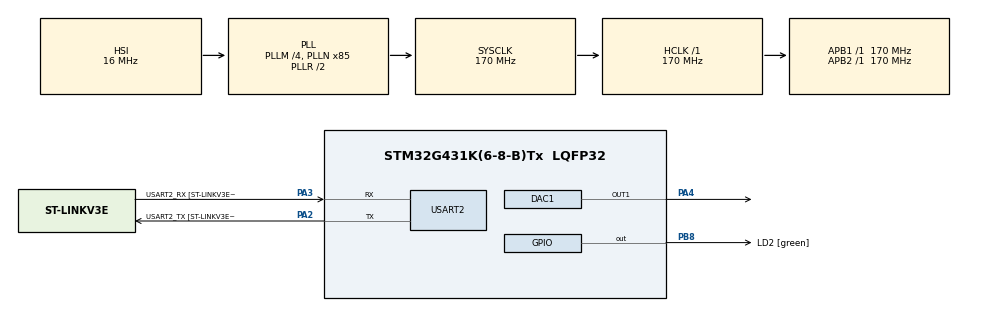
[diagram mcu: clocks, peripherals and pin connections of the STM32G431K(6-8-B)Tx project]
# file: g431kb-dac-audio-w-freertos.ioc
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DAC1.DAC_Trigger_OUT1-DAC_OUT1=DAC_TRIGGER_T6_TRGO
Dma.DAC1_CH1.0.Direction=DMA_MEMORY_TO_PERIPH
Dma.DAC1_CH1.0.EventEnable=DISABLE
Dma.DAC1_CH1.0.Instance=DMA1_Channel1
Dma.DAC1_CH1.0.MemDataAlignment=DMA_MDATAALIGN_BYTE
Dma.DAC1_CH1.0.MemInc=DMA_MINC_ENABLE
Dma.DAC1_CH1.0.Mode=DMA_NORMAL
Dma.DAC1_CH1.0.PeriphDataAlignment=DMA_PDATAALIGN_WORD
Dma.DAC1_CH1.0.PeriphInc=DMA_PINC_DISABLE
Dma.DAC1_CH1.0.Polarity=HAL_DMAMUX_REQ_GEN_RISING
Dma.DAC1_CH1.0.Priority=DMA_PRIORITY_LOW
Dma.DAC1_CH1.0.RequestNumber=1
Dma.DAC1_CH1.0.SignalID=NONE
Dma.DAC1_CH1.0.SyncEnable=DISABLE
Dma.DAC1_CH1.0.SyncPolarity=HAL_DMAMUX_SYNC_NO_EVENT
Dma.DAC1_CH1.0.SyncRequestNumber=1
Dma.DAC1_CH1.0.SyncSignalID=NONE
Dma.Request0=DAC1_CH1
FREERTOS.Tasks01=defaultTask,24,128,StartDefaultTask,Default,NULL,Dynamic,NULL,NULL
FREERTOS.configTOTAL_HEAP_SIZE=12000
FREERTOS.configUSE_NEWLIB_REENTRANT=1
Mcu.Family=STM32G4
Mcu.Name=STM32G431K(6-8-B)Tx
Mcu.Package=LQFP32
NVIC.DMA1_Channel1_IRQn=true\:5\:0\:false\:false\:true\:true\:false\:true\:true
NVIC.PriorityGroup=NVIC_PRIORITYGROUP_4
NVIC.TIM6_DAC_IRQn=true\:6\:0\:true\:false\:true\:true\:true\:true\:true
NVIC.TIM7_IRQn=true\:15\:0\:false\:false\:true\:false\:false\:true\:true
NVIC.TimeBase=TIM7_IRQn
NVIC.TimeBaseIP=TIM7
PA13.GPIO_Label=T_SWDIO
PA13.Mode=Serial_Wire
PA13.Signal=SYS_JTMS-SWDIO
PA14.GPIO_Label=T_SWCLK
PA14.Mode=Serial_Wire
PA14.Signal=SYS_JTCK-SWCLK
PA2.GPIO_Label=USART2_TX [ST-LINKV3E_VCP_RX]
PA2.Mode=Asynchronous
PA2.Signal=USART2_TX
PA3.GPIO_Label=USART2_RX [ST-LINKV3E_VCP_TX]
PA3.Mode=Asynchronous
PA3.Signal=USART2_RX
PA4.Signal=COMP_DAC11_group
PB3.GPIO_Label=T_SWO
PB3.Signal=SYS_JTDO-SWO
PB8-BOOT0.GPIO_Label=LD2 [green]
PB8-BOOT0.Signal=GPIO_Output
ProjectManager.HeapSize=0x200
ProjectManager.StackSize=0x400
ProjectManager.TargetToolchain=STM32CubeIDE
RCC.ADC12Freq_Value=170000000
RCC.AHBFreq_Value=170000000
RCC.APB1Freq_Value=170000000
RCC.APB1TimFreq_Value=170000000
RCC.APB2Freq_Value=170000000
RCC.APB2TimFreq_Value=170000000
RCC.CortexFreq_Value=170000000
RCC.EXTERNAL_CLOCK_VALUE=12288000
RCC.HCLKFreq_Value=170000000
RCC.HSE_VALUE=8000000
RCC.HSI48_VALUE=48000000
RCC.HSI_VALUE=16000000
RCC.LSE_VALUE=32768
RCC.PLLM=RCC_PLLM_DIV4
RCC.PLLN=85
RCC.SYSCLKFreq_VALUE=170000000
RCC.SYSCLKSource=RCC_SYSCLKSOURCE_PLLCLK
RCC.USBFreq_Value=170000000
RCC.VCOOutputFreq_Value=340000000
SH.COMP_DAC11_group.0=DAC1_OUT1,DAC_OUT1
TIM6.PeriodNoDither=504
TIM6.Prescaler=1
TIM6.TIM_MasterOutputTrigger=TIM_TRGO_UPDATE
USART2.VirtualMode-Asynchronous=VM_ASYNC
USART2.WordLength=WORDLENGTH_8B
VP_FREERTOS_VS_CMSIS_V2.Mode=CMSIS_V2
VP_SYS_VS_DBSignals.Mode=DisableDeadBatterySignals
VP_SYS_VS_tim7.Mode=TIM7
VP_TIM6_VS_ClockSourceINT.Mode=Enable_Timer
board=NUCLEO-G431KB

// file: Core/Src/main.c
/* USER CODE BEGIN Header */
/**
  ******************************************************************************
  * @file           : main.c
  * @brief          : Main program body
  ******************************************************************************
  * @attention
  *
  * Copyright (c) 2024 STMicroelectronics.
  * All rights reserved.
  *
  * This software is licensed under terms that can be found in the LICENSE file
  * in the root directory of this software component.
  * If no LICENSE file comes with this software, it is provided AS-IS.
  *
  ******************************************************************************
  */
/* USER CODE END Header */
#include "main.h"
#include "cmsis_os.h"

/* USER CODE BEGIN Includes */
#include <stdint.h>
#include <stdbool.h>
#include <string.h>

#include <FreeRTOS.h>
#include <task.h>
#include <queue.h>
#include <semphr.h>

#include "lofi_sample.h"
#include "open_the_can.h"
#include "keyboard.h"
/* USER CODE END Includes */

/* USER CODE BEGIN PTD */
typedef struct{
	uint8_t *pAudioData;
	uint32_t u32Len;
}audio_play_cmd_t;
/* USER CODE END PTD */

/* USER CODE BEGIN PD */
#define WAV_FILE_HEADER_SIZE		44
/* USER CODE END PD */

DAC_HandleTypeDef hdac1;
DMA_HandleTypeDef hdma_dac1_ch1;

TIM_HandleTypeDef htim6;

UART_HandleTypeDef huart2;

/* Definitions for defaultTask */

/* USER CODE BEGIN PV */
TaskHandle_t xAudioTask;
QueueHandle_t xAudioQueue;
SemaphoreHandle_t xDacSem;
/* USER CODE END PV */

void SystemClock_Config(void);
static void MX_GPIO_Init(void);
static void MX_DMA_Init(void);
static void MX_USART2_UART_Init(void);
static void MX_DAC1_Init(void);
static void MX_TIM6_Init(void);
void StartDefaultTask(void *argument);

/* USER CODE BEGIN 0 */

/** callback from DAC **/

void HAL_DAC_ConvCpltCallbackCh1(DAC_HandleTypeDef *hdac){\
	BaseType_t xWoken = pdFALSE;

	xSemaphoreGiveFromISR(xDacSem, &xWoken);

	portYIELD_FROM_ISR(xWoken);
}

/** Functions to reproduce the audio **/

void _start_dac(uint8_t *buffer, uint32_t len){
	HAL_DAC_Start_DMA(&hdac1, DAC_CHANNEL_1, (uint32_t*)buffer, len, DAC_ALIGN_8B_R);
}

/** Task to Reproduce audio **/

void vTaskAudioPlayer(void *pvParams){
	audio_play_cmd_t Audio;

	HAL_TIM_Base_Start_IT(&htim6);
	while (1){
		xQueueReceive(xAudioQueue, &Audio, portMAX_DELAY);
		_start_dac(Audio.pAudioData, Audio.u32Len);
		xSemaphoreTake(xDacSem, portMAX_DELAY);
		vPortFree(Audio.pAudioData);
	}
}

/* Auxiliary Functions */

void _apply_volume(uint8_t *buffer, uint32_t len, uint8_t level){
	uint32_t i;
	uint32_t a;
	int32_t v;

	for (i=0 ; i<len ; i++){
		v = buffer[i] - 127;
		a = (v * level) / 100;
		buffer[i] = (uint8_t)(a + 127);
	}
}

void _play_audio(uint8_t *pAudio, uint32_t len){
	uint32_t played, sizeToPlay, iterations;
	uint8_t *pBuffer;
	audio_play_cmd_t AudioPlay;
	bool AudioTaskStarted = false;

	played = 0;

	vTaskSuspend(xAudioTask);
	// we need to skip the 44 bytes header of the wav file
	// check http://soundfile.sapp.org/doc/WaveFormat/
	played += WAV_FILE_HEADER_SIZE;

	iterations = 0;
	while (played < len){
		if ((len - played) > 256){
			sizeToPlay = 256;
		}
		else{
			sizeToPlay = (len - played);
		}

		pBuffer = pvPortMalloc(sizeToPlay);
		memcpy(pBuffer, &pAudio[played], sizeToPlay);
		_apply_volume(pBuffer, sizeToPlay, 8);

		AudioPlay.pAudioData = pBuffer;
		AudioPlay.u32Len = sizeToPlay;
		xQueueSend(xAudioQueue, &AudioPlay, portMAX_DELAY);

		played += sizeToPlay;
		iterations++;
		if (iterations > 2 && AudioTaskStarted == false){
			AudioTaskStarted = true;
			vTaskResume(xAudioTask);
		}
	}

}

void _play_lofi_sample(){
	__HAL_TIM_SET_AUTORELOAD(&htim6, 10624);
	_play_audio((uint8_t*)lofi_sample_wav, lofi_sample_wav_len);
}

void _play_open_the_can(){
	__HAL_TIM_SET_AUTORELOAD(&htim6, 3541);
	_play_audio((uint8_t*)open_the_can_wav, open_the_can_wav_len);
}

void _play_keyboard(){
	__HAL_TIM_SET_AUTORELOAD(&htim6, 1770);
	_play_audio((uint8_t*)keyboard_wav, keyboard_wav_len);
}

/** Start Task */
void vTaskStart (void *pvParams){
	vTaskDelay(pdMS_TO_TICKS(1000));
	_play_lofi_sample();
	vTaskDelay(pdMS_TO_TICKS(250));
	_play_open_the_can();
	while(1){
		vTaskDelay(pdMS_TO_TICKS(1000));
	}
}
/* USER CODE END 0 */

int main(void)
{

  /* MCU Configuration--------------------------------------------------------*/

  /* Reset of all peripherals, Initializes the Flash interface and the Systick. */
  HAL_Init();

  /* Configure the system clock */
  SystemClock_Config();

  /* Initialize all configured peripherals */
  MX_GPIO_Init();
  MX_DMA_Init();
  MX_USART2_UART_Init();
  MX_DAC1_Init();
  MX_TIM6_Init();

  /* Init scheduler */
  osKernelInitialize();

  /* USER CODE BEGIN RTOS_SEMAPHORES */
  /* add semaphores, ... */
  xDacSem = xSemaphoreCreateBinary();
  /* USER CODE END RTOS_SEMAPHORES */

  /* USER CODE BEGIN RTOS_QUEUES */
  /* add queues, ... */
  xAudioQueue = xQueueCreate(10, sizeof(audio_play_cmd_t));
  /* USER CODE END RTOS_QUEUES */

  /* Create the thread(s) */
  /* creation of defaultTask */

  /* USER CODE BEGIN RTOS_THREADS */
  /* add threads, ... */
  xTaskCreate(vTaskAudioPlayer,
		  "Audio Task",
		  126,
		  NULL,
		  2,
		  &xAudioTask);
  xTaskCreate(vTaskStart,
		  "Start Task",
		  126,
		  NULL,
		  1,
		  NULL);
  /* USER CODE END RTOS_THREADS */

  /* Start scheduler */
  osKernelStart();

  /* We should never get here as control is now taken by the scheduler */

  /* Infinite loop */
  while (1)
  {

  }
}

void SystemClock_Config(void)
{
  RCC_OscInitTypeDef RCC_OscInitStruct = {0};
  RCC_ClkInitTypeDef RCC_ClkInitStruct = {0};

  /** Configure the main internal regulator output voltage
  */
  HAL_PWREx_ControlVoltageScaling(PWR_REGULATOR_VOLTAGE_SCALE1_BOOST);

  /** Initializes the RCC Oscillators according to the specified parameters
  * in the RCC_OscInitTypeDef structure.
  */
  RCC_OscInitStruct.OscillatorType = RCC_OSCILLATORTYPE_HSI;
  RCC_OscInitStruct.HSIState = RCC_HSI_ON;
  RCC_OscInitStruct.HSICalibrationValue = RCC_HSICALIBRATION_DEFAULT;
  RCC_OscInitStruct.PLL.PLLState = RCC_PLL_ON;
  RCC_OscInitStruct.PLL.PLLSource = RCC_PLLSOURCE_HSI;
  RCC_OscInitStruct.PLL.PLLM = RCC_PLLM_DIV4;
  RCC_OscInitStruct.PLL.PLLN = 85;
  RCC_OscInitStruct.PLL.PLLP = RCC_PLLP_DIV2;
  RCC_OscInitStruct.PLL.PLLQ = RCC_PLLQ_DIV2;
  RCC_OscInitStruct.PLL.PLLR = RCC_PLLR_DIV2;
  if (HAL_RCC_OscConfig(&RCC_OscInitStruct) != HAL_OK)
  {
    Error_Handler();
  }

  /** Initializes the CPU, AHB and APB buses clocks
  */
  RCC_ClkInitStruct.ClockType = RCC_CLOCKTYPE_HCLK|RCC_CLOCKTYPE_SYSCLK
                              |RCC_CLOCKTYPE_PCLK1|RCC_CLOCKTYPE_PCLK2;
  RCC_ClkInitStruct.SYSCLKSource = RCC_SYSCLKSOURCE_PLLCLK;
  RCC_ClkInitStruct.AHBCLKDivider = RCC_SYSCLK_DIV1;
  RCC_ClkInitStruct.APB1CLKDivider = RCC_HCLK_DIV1;
  RCC_ClkInitStruct.APB2CLKDivider = RCC_HCLK_DIV1;

  if (HAL_RCC_ClockConfig(&RCC_ClkInitStruct, FLASH_LATENCY_4) != HAL_OK)
  {
    Error_Handler();
  }
}

static void MX_DAC1_Init(void)
{

  DAC_ChannelConfTypeDef sConfig = {0};

  /** DAC Initialization
  */
  hdac1.Instance = DAC1;
  if (HAL_DAC_Init(&hdac1) != HAL_OK)
  {
    Error_Handler();
  }

  /** DAC channel OUT1 config
  */
  sConfig.DAC_HighFrequency = DAC_HIGH_FREQUENCY_INTERFACE_MODE_AUTOMATIC;
  sConfig.DAC_DMADoubleDataMode = DISABLE;
  sConfig.DAC_SignedFormat = DISABLE;
  sConfig.DAC_SampleAndHold = DAC_SAMPLEANDHOLD_DISABLE;
  sConfig.DAC_Trigger = DAC_TRIGGER_T6_TRGO;
  sConfig.DAC_Trigger2 = DAC_TRIGGER_NONE;
  sConfig.DAC_OutputBuffer = DAC_OUTPUTBUFFER_ENABLE;
  sConfig.DAC_ConnectOnChipPeripheral = DAC_CHIPCONNECT_EXTERNAL;
  sConfig.DAC_UserTrimming = DAC_TRIMMING_FACTORY;
  if (HAL_DAC_ConfigChannel(&hdac1, &sConfig, DAC_CHANNEL_1) != HAL_OK)
  {
    Error_Handler();
  }

}

static void MX_TIM6_Init(void)
{

  TIM_MasterConfigTypeDef sMasterConfig = {0};

  htim6.Instance = TIM6;
  htim6.Init.Prescaler = 1;
  htim6.Init.CounterMode = TIM_COUNTERMODE_UP;
  htim6.Init.Period = 504;
  htim6.Init.AutoReloadPreload = TIM_AUTORELOAD_PRELOAD_DISABLE;
  if (HAL_TIM_Base_Init(&htim6) != HAL_OK)
  {
    Error_Handler();
  }
  sMasterConfig.MasterOutputTrigger = TIM_TRGO_UPDATE;
  sMasterConfig.MasterSlaveMode = TIM_MASTERSLAVEMODE_DISABLE;
  if (HAL_TIMEx_MasterConfigSynchronization(&htim6, &sMasterConfig) != HAL_OK)
  {
    Error_Handler();
  }

}

static void MX_USART2_UART_Init(void)
{

  huart2.Instance = USART2;
  huart2.Init.BaudRate = 115200;
  huart2.Init.WordLength = UART_WORDLENGTH_8B;
  huart2.Init.StopBits = UART_STOPBITS_1;
  huart2.Init.Parity = UART_PARITY_NONE;
  huart2.Init.Mode = UART_MODE_TX_RX;
  huart2.Init.HwFlowCtl = UART_HWCONTROL_NONE;
  huart2.Init.OverSampling = UART_OVERSAMPLING_16;
  huart2.Init.OneBitSampling = UART_ONE_BIT_SAMPLE_DISABLE;
  huart2.Init.ClockPrescaler = UART_PRESCALER_DIV1;
  huart2.AdvancedInit.AdvFeatureInit = UART_ADVFEATURE_NO_INIT;
  if (HAL_UART_Init(&huart2) != HAL_OK)
  {
    Error_Handler();
  }
  if (HAL_UARTEx_SetTxFifoThreshold(&huart2, UART_TXFIFO_THRESHOLD_1_8) != HAL_OK)
  {
    Error_Handler();
  }
  if (HAL_UARTEx_SetRxFifoThreshold(&huart2, UART_RXFIFO_THRESHOLD_1_8) != HAL_OK)
  {
    Error_Handler();
  }
  if (HAL_UARTEx_DisableFifoMode(&huart2) != HAL_OK)
  {
    Error_Handler();
  }

}

static void MX_DMA_Init(void)
{

  /* DMA controller clock enable */
  __HAL_RCC_DMAMUX1_CLK_ENABLE();
  __HAL_RCC_DMA1_CLK_ENABLE();

  /* DMA interrupt init */
  /* DMA1_Channel1_IRQn interrupt configuration */
  HAL_NVIC_SetPriority(DMA1_Channel1_IRQn, 5, 0);
  HAL_NVIC_EnableIRQ(DMA1_Channel1_IRQn);

}

static void MX_GPIO_Init(void)
{
  GPIO_InitTypeDef GPIO_InitStruct = {0};

  /* GPIO Ports Clock Enable */
  __HAL_RCC_GPIOA_CLK_ENABLE();
  __HAL_RCC_GPIOB_CLK_ENABLE();

  /*Configure GPIO pin Output Level */
  HAL_GPIO_WritePin(LD2_GPIO_Port, LD2_Pin, GPIO_PIN_RESET);

  /*Configure GPIO pin : LD2_Pin */
  GPIO_InitStruct.Pin = LD2_Pin;
  GPIO_InitStruct.Mode = GPIO_MODE_OUTPUT_PP;
  GPIO_InitStruct.Pull = GPIO_NOPULL;
  GPIO_InitStruct.Speed = GPIO_SPEED_FREQ_LOW;
  HAL_GPIO_Init(LD2_GPIO_Port, &GPIO_InitStruct);

}

void StartDefaultTask(void *argument)
{
  for(;;)
  {
    osDelay(1);
  }
}

void HAL_TIM_PeriodElapsedCallback(TIM_HandleTypeDef *htim)
{
  if (htim->Instance == TIM7) {
    HAL_IncTick();
  }
}

void Error_Handler(void)
{
  __disable_irq();
  while (1)
  {
  }
}
